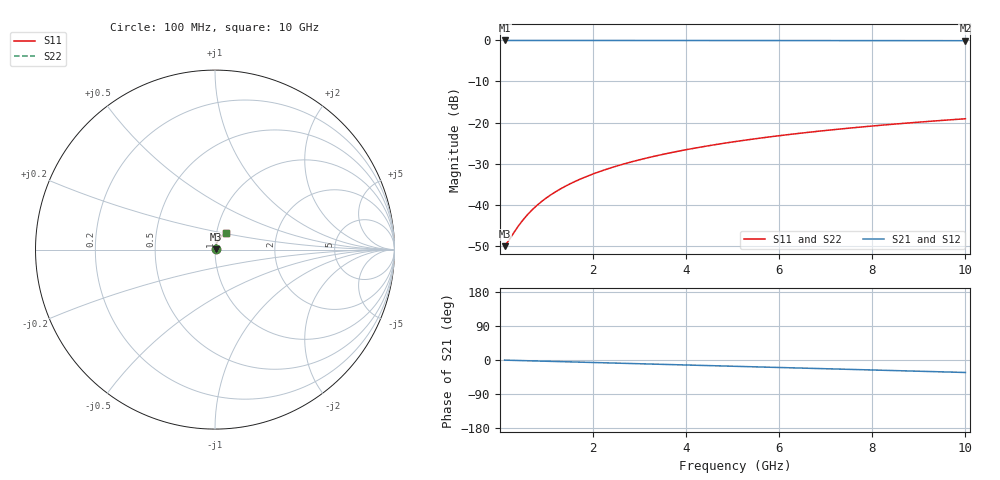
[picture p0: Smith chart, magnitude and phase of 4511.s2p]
# Hz S RI R 50.00
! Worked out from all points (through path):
!   100 points, 100 MHz to 10 GHz, reference 50 ohm
!   highest |S21| = -0.03 dB at 100 MHz (marker M1); lowest = -0.1 dB at 10 GHz (marker M2)
!   group delay of S21, straight-line fit = 9.15 ps
!   lowest |S11| = -50.1 dB at 100 MHz (marker M3), VSWR 1.01, Z = 50.3 + j0.117 ohm
!   |S11| at or under -10 dB: start of sweep to end of sweep
!   |S22| runs from -50.1 to -19.1 dB; largest |S21 - S12| = 0
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1e8  0.00291 0.00116  0.9971 -0.00572  0.9971 -0.00572  0.00291 0.00116
2e8  0.00294 0.00232  0.997 -0.0114  0.997 -0.0114  0.00294 0.00232
4e8  0.00305 0.00464  0.9968 -0.0229  0.9968 -0.0229  0.00305 0.00464
5e8  0.00311 0.0058  0.9966 -0.0286  0.9966 -0.0286  0.00311 0.0058
6e8  0.00319 0.00695  0.9964 -0.0343  0.9964 -0.0343  0.00319 0.00695
7e8  0.00329 0.00811  0.9962 -0.0401  0.9962 -0.0401  0.00329 0.00811
8e8  0.00339 0.00926  0.9959 -0.0458  0.9959 -0.0458  0.00339 0.00926
1e9  0.00364 0.0116  0.9953 -0.0572  0.9953 -0.0572  0.00364 0.0116
1.2e9  0.00394 0.0139  0.9945 -0.0686  0.9945 -0.0686  0.00394 0.0139
1.5e9  0.00449 0.0173  0.9931 -0.0857  0.9931 -0.0857  0.00449 0.0173
1.8e9  0.00516 0.0207  0.9914 -0.1028  0.9914 -0.1028  0.00516 0.0207
2.1e9  0.00594 0.0241  0.9894 -0.1199  0.9894 -0.1199  0.00594 0.0241
2.5e9  0.00716 0.0286  0.9862 -0.1426  0.9862 -0.1426  0.00716 0.0286
2.9e9  0.00859 0.033  0.9825 -0.1652  0.9825 -0.1652  0.00859 0.033
3.4e9  0.0107 0.0384  0.9771 -0.1933  0.9771 -0.1933  0.0107 0.0384
4.2e9  0.0146 0.0467  0.9668 -0.2379  0.9668 -0.2379  0.0146 0.0467
5.1e9  0.0199 0.0557  0.9526 -0.2874  0.9526 -0.2874  0.0199 0.0557
5.9e9  0.0254 0.0631  0.9378 -0.3307  0.9378 -0.3307  0.0254 0.0631
6.7e9  0.0316 0.07  0.921 -0.3733  0.921 -0.3733  0.0316 0.07
7.5e9  0.0383 0.0763  0.9022 -0.4149  0.9022 -0.4149  0.0383 0.0763
8.4e9  0.0466 0.0826  0.8787 -0.4607  0.8787 -0.4607  0.0466 0.0826
1e10  0.0628 0.0917  0.8312 -0.5385  0.8312 -0.5385  0.0628 0.0917
